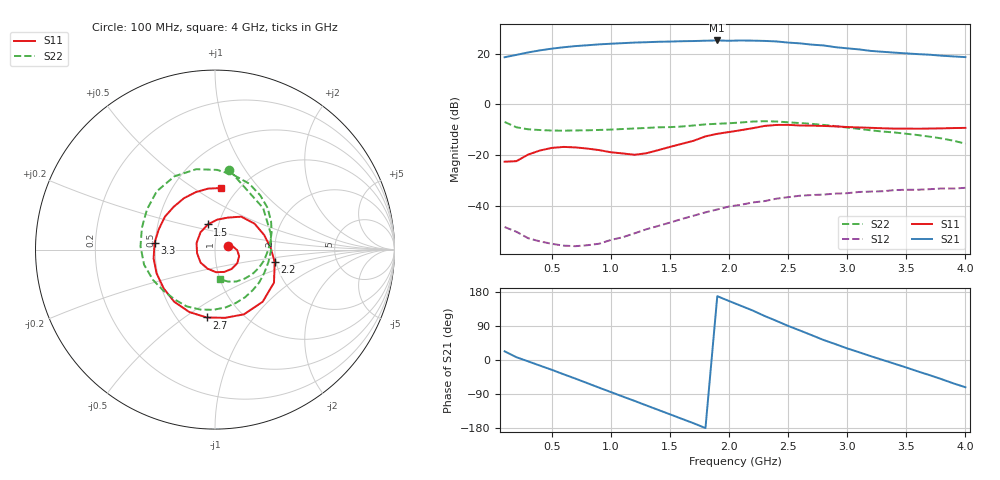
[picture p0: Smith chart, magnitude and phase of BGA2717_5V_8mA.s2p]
! Bias: Vs=5.00 V; Is=8.0 mA
#  MHz  S  MA  R 50
! Freq  S11  S21  S12  S22
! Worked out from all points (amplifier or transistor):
!   40 points, 100 MHz to 4 GHz, reference 50 ohm
!   highest |S21| = 25.2 dB at 1.9 GHz (marker M1)
!   |S21| within 3 dB of that: 540.4 MHz to 2.978 GHz (2.438 GHz wide, 139 % of centre)
!   unconditionally stable (mu >= 1): start of sweep to end of sweep
!   at 700 MHz: K = 19.57, MAG = 23.5 dB, |S12| = -55.8 dB
!   at 2.1 GHz: K = 1.95, MAG = 26.7 dB, |S12| = -39.5 dB
!   at 4 GHz: K = 2.36, MAG = 19.2 dB, |S12| = -32.8 dB
!   S11 on the Smith chart (normalised r, x): 100 MHz: 1.15, +0.04; 1.5 GHz: 0.89, +0.25; 2.2 GHz: 1.96, -0.31; 2.7 GHz: 0.69, -0.61; 3.3 GHz: 0.50, +0.04; 4 GHz: 0.83, +0.65
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100  0.07438 13.8  8.465 22.9  0.00386 -66.4  0.4505 79.9
300  0.1031 8.6  10.54 -3.7  0.00232 46.3  0.3231 16.5
500  0.1392 -15.0  12.5 -26.0  0.0018 -138.3  0.3057 -13.3
700  0.1423 -49.2  14.03 -49.2  0.00162 176.6  0.3069 -36.7
800  0.135 -67.1  14.57 -61.1  0.00169 -164.4  0.3087 -46.8
1100  0.1082 -138.2  16.03 -96.5  0.00243 148.8  0.3274 -79.4
1200  0.102 -168.9  16.46 -107.9  0.0029 139.8  0.3356 -91.6
1400  0.1257 130.0  17.06 -131.6  0.00405 123.5  0.3536 -116.5
1500  0.1456 105.8  17.22 -143.4  0.00472 121.7  0.3567 -128.3
1700  0.1924 67.9  17.64 -167.0  0.00645 92.0  0.3845 -153.9
1900  0.2635 33.2  18.11 168.4  0.00855 93.4  0.4156 177.5
2100  0.3106 1.5  18.09 143.1  0.01056 75.5  0.44 149.5
2200  0.3397 -11.7  17.96 130.6  0.01174 75.2  0.4592 135.0
2400  0.3937 -47.6  17.32 103.3  0.01393 53.1  0.46 103.1
2600  0.3844 -81.6  15.88 77.8  0.01594 21.7  0.4282 75.8
2700  0.381 -96.9  14.98 65.4  0.01643 6.0  0.414 62.7
2800  0.3762 -112.4  14.44 52.8  0.01679 4.7  0.3937 50.2
3000  0.3586 -142.6  12.68 30.5  0.01786 -19.2  0.3497 26.7
3300  0.3388 173.5  10.84 0.1  0.01951 -41.1  0.292 -2.9
3400  0.3331 160.2  10.44 -9.8  0.02055 -49.2  0.2797 -12.6
3700  0.3346 121.1  9.484 -40.2  0.02144 -67.6  0.2313 -44.5
4000  0.3447 84.8  8.514 -71.9  0.02279 -94.9  0.1686 -80.2
